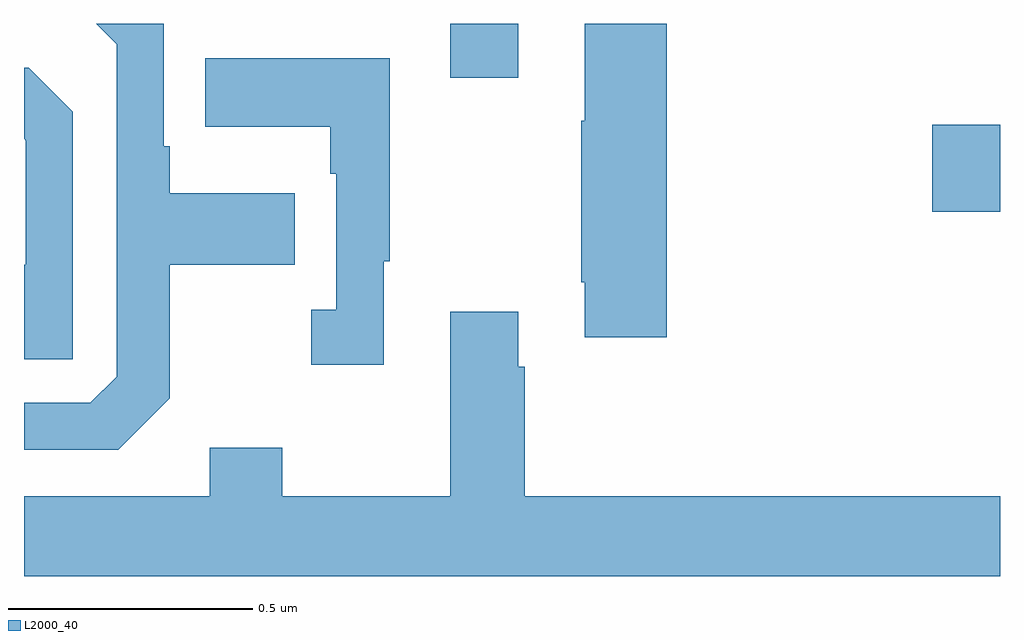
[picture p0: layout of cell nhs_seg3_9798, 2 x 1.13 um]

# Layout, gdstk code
import gdstk
lib = gdstk.Library(unit=1e-6, precision=1e-09)
def R(c, l, rs):  # rectangles x0, y0, x1, y1
    for r in rs: c.add(gdstk.rectangle(r[:2], r[2:], *l))
def P(c, l, *ps):  # polygons
    for p in ps: c.add(gdstk.Polygon(p, *l))
L2000_40 = (2000, 40)

nhs_seg3_9798 = lib.new_cell('nhs_seg3_9798')
R(nhs_seg3_9798, L2000_40, [(234.861,683.015,235,683.193), (233.873,683.289,234.013,683.4)])
P(nhs_seg3_9798, L2000_40, [(234.317,683.4),(234.149,683.4),(234.149,683.201),(234.142,683.201),(234.142,682.87),(234.149,682.87),(234.149,682.758),(234.317,682.758)],
  [(233.299,682.633),(233.299,682.906),(233.555,682.906),(233.555,683.053),(233.299,683.053),(233.299,683.149),(233.286,683.149),(233.286,683.4),(233.148,683.4),(233.19,683.358),(233.19,682.677),(233.136,682.623),(233,682.623),(233,682.527),(233.193,682.527)],
  [(233.737,682.913),(233.749,682.913),(233.749,683.329),(233.371,683.329),(233.371,683.189),(233.628,683.189),(233.628,683.093),(233.64,683.093),(233.64,682.814),(233.589,682.814),(233.589,682.701),(233.737,682.701)],
  [(233.1,683.22),(233.01,683.31),(233,683.31),(233,683.164),(233.004,683.16),(233.004,682.906),(233,682.906),(233,682.713),(233.1,682.713)],
  [(235,682.432),(234.026,682.432),(234.026,682.697),(234.013,682.697),(234.013,682.81),(233.873,682.81),(233.873,682.432),(233.529,682.432),(233.529,682.531),(233.381,682.531),(233.381,682.432),(233,682.432),(233,682.268),(235,682.268)])

lib.write_gds('nhs_seg3_9798.gds')
